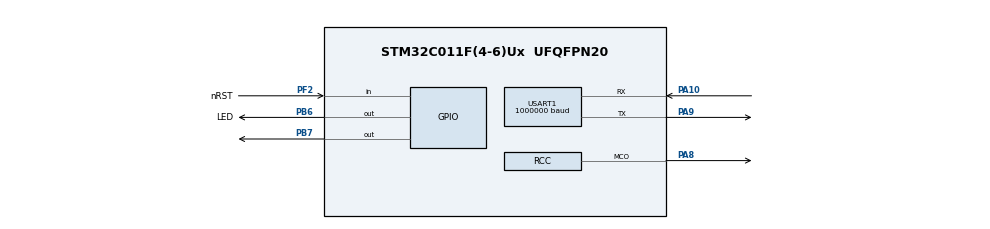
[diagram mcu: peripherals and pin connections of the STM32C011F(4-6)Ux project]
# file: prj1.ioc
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Mcu.Family=STM32C0
Mcu.Name=STM32C011F(4-6)Ux
Mcu.Package=UFQFPN20
NVIC.TIM1_BRK_UP_TRG_COM_IRQn=true\:0\:0\:false\:false\:true\:true\:true\:true
NVIC.USART1_IRQn=true\:0\:0\:false\:false\:true\:true\:true\:true
PA10\ [PA12].GPIO_FMPA10=SYSCFG_FASTMODEPLUS_PA10
PA10\ [PA12].GPIO_ModeDefaultPP=GPIO_MODE_AF_PP
PA10\ [PA12].GPIO_PuPd=GPIO_NOPULL
PA10\ [PA12].GPIO_Speed=GPIO_SPEED_FREQ_VERY_HIGH
PA10\ [PA12].Mode=Asynchronous
PA10\ [PA12].Signal=USART1_RX
PA13.Mode=Serial_Wire
PA13.Signal=DEBUG_SWDIO
PA14-BOOT0.Mode=Serial_Wire
PA14-BOOT0.Signal=DEBUG_SWCLK
PA8.Mode=Clock-out
PA8.Signal=RCC_MCO
PA9\ [PA11].GPIO_FMPA9=SYSCFG_FASTMODEPLUS_PA9
PA9\ [PA11].GPIO_PuPd=GPIO_NOPULL
PA9\ [PA11].GPIO_Speed=GPIO_SPEED_FREQ_VERY_HIGH
PA9\ [PA11].Mode=Asynchronous
PA9\ [PA11].Signal=USART1_TX
PB6.GPIO_Label=LED
PB6.GPIO_Speed=GPIO_SPEED_FREQ_VERY_HIGH
PB6.PinState=GPIO_PIN_RESET
PB6.Signal=GPIO_Output
PB7.Signal=GPIO_Output
PF2-NRST.GPIO_Label=nRST
PF2-NRST.Signal=GPIO_Input
ProjectManager.HeapSize=0x200
ProjectManager.StackSize=0x400
ProjectManager.TargetToolchain=MDK-ARM V5.32
RCC.ADCFreq_Value=48000000
RCC.AHBFreq_Value=48000000
RCC.CortexFreq_Value=48000000
RCC.EXTERNAL_CLOCK_VALUE=12288000
RCC.HCLKFreq_Value=48000000
RCC.HSE_VALUE=8000000
RCC.HSISYSCLKDivider=RCC_HSI_DIV1
RCC.HSI_VALUE=48000000
RCC.LSE_VALUE=32768
RCC.SYSCLKFreq_VALUE=48000000
TIM1.Period=9
TIM1.Prescaler=4799
USART1.BaudRate=1000000
USART1.VirtualMode-Asynchronous=VM_ASYNC
VP_IWDG_VS_IWDG.Mode=IWDG_Activate
VP_SYS_VS_PINREMAP.Mode=PINREMAP
VP_SYS_VS_PINREMAP_10_12.Mode=PINREMAP_10_12
VP_TIM1_VS_ClockSourceINT.Mode=Internal
board=STM32C0116-DK

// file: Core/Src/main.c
/* USER CODE BEGIN Header */
/**
  ******************************************************************************
  * @file           : main.c
  * @brief          : Main program body
  ******************************************************************************
  * @attention
  *
  * Copyright (c) 2023 STMicroelectronics.
  * All rights reserved.
  *
  * This software is licensed under terms that can be found in the LICENSE file
  * in the root directory of this software component.
  * If no LICENSE file comes with this software, it is provided AS-IS.
  *
  ******************************************************************************
  */
/* USER CODE END Header */
#include "main.h"
#include "iwdg.h"
#include "tim.h"
#include "usart.h"
#include "gpio.h"

/* USER CODE BEGIN Includes */
#include <stdio.h>           //add for sprintf
#include "string.h"          //add for memcmp

/* USER CODE END Includes */

/* USER CODE BEGIN PTD */

#define TXMODE
//#define RXMODE

#define NOUSE_LEN_TX  0   //0--257 , 1 -- 256, 2 -- 255, 3 -- 254
#define NOUSE_LEN_RX  3   //0--cmp 257 , 1 --cmp 256, 2 --cmp 255, 3 --cmp 254

extern volatile uint8_t flg_rx;
extern volatile uint8_t irxdata[RXDATALEN];
extern volatile uint8_t irxdata2[RXDATALEN];
extern volatile uint32_t irxnum;
extern volatile uint32_t irxnum2;

extern volatile uint8_t timer1_flag;

/* USER CODE END PTD */

/* USER CODE BEGIN PD */

  #define ADC_CALIBRATION_TIMEOUT_MS       (   1UL)
  #define ADC_ENABLE_TIMEOUT_MS            (   1UL)
  #define ADC_DISABLE_TIMEOUT_MS           (   1UL)
  #define ADC_STOP_CONVERSION_TIMEOUT_MS   (   1UL)
  #define ADC_CONVERSION_TIMEOUT_MS        (4000UL)

  /* Delay between ADC end of calibration and ADC enable.                     */
  /* Delay estimation in CPU cycles: Case of ADC enable done                  */
  /* immediately after ADC calibration, ADC clock setting slow                */
  /* (LL_ADC_CLOCK_ASYNC_DIV32). Use a higher delay if ratio                  */
  /* (CPU clock / ADC clock) is above 32.                                     */
  #define ADC_DELAY_CALIB_ENABLE_CPU_CYCLES  (LL_ADC_DELAY_CALIB_ENABLE_ADC_CYCLES * 32)

/* Definitions of environment analog values */
  /* Value of analog reference voltage (Vref+), connected to analog voltage   */
  /* supply Vdda (unit: mV).                                                  */
  #define VDDA_APPLI                       (3300UL)

/* Definitions of data related to this example */
  /* Init variable out of expected ADC conversion data range */
  #define VAR_CONVERTED_DATA_INIT_VALUE    (__LL_ADC_DIGITAL_SCALE(LL_ADC_RESOLUTION_12B) + 1)

/* USER CODE END PD */

/* USER CODE BEGIN PM */

//uint8_t TESTTXDATA[TXDATALEN]=  //org
//{0x00,
// 0x00,0x01,0x02,0x03,0x04,0x05,0x06,0x07,0x08,0x09,0x0A,0x0B,0x0C,0x0D,0x0E,0x0F,0x10,0x11,0x12,0x13,0x14,0x15,0x16,0x17,0x18,0x19,0x1A,0x1B,0x1C,0x1D,0x1E,0x1F,
// 0x20,0x21,0x22,0x23,0x24,0x25,0x26,0x27,0x28,0x29,0x2A,0x2B,0x2C,0x2D,0x2E,0x2F,0x30,0x31,0x32,0x33,0x34,0x35,0x36,0x37,0x38,0x39,0x3A,0x3B,0x3C,0x3D,0x3E,0x3F,
// 0x40,0x41,0x42,0x43,0x44,0x45,0x46,0x47,0x48,0x49,0x4A,0x4B,0x4C,0x4D,0x4E,0x4F,0x50,0x51,0x52,0x53,0x54,0x55,0x56,0x57,0x58,0x59,0x5A,0x5B,0x5C,0x5D,0x5E,0x5F,
// 0x60,0x61,0x62,0x63,0x64,0x65,0x66,0x67,0x68,0x69,0x6A,0x6B,0x6C,0x6D,0x6E,0x6F,0x70,0x71,0x72,0x73,0x74,0x75,0x76,0x77,0x78,0x79,0x7A,0x7B,0x7C,0x7D,0x7E,0x7F,
// 0x80,0x81,0x82,0x83,0x84,0x85,0x86,0x87,0x88,0x89,0x8A,0x8B,0x8C,0x8D,0x8E,0x8F,0x90,0x91,0x92,0x93,0x94,0x95,0x96,0x97,0x98,0x99,0x9A,0x9B,0x9C,0x9D,0x9E,0x9F,
// 0xA0,0xA1,0xA2,0xA3,0xA4,0xA5,0xA6,0xA7,0xA8,0xA9,0xAA,0xAB,0xAC,0xAD,0xAE,0xAF,0xB0,0xB1,0xB2,0xB3,0xB4,0xB5,0xB6,0xB7,0xB8,0xB9,0xBA,0xBB,0xBC,0xBD,0xBE,0xBF,
// 0xC0,0xC1,0xC2,0xC3,0xC4,0xC5,0xC6,0xC7,0xC8,0xC9,0xCA,0xCB,0xCC,0xCD,0xCE,0xCF,0xD0,0xD1,0xD2,0xD3,0xD4,0xD5,0xD6,0xD7,0xD8,0xD9,0xDA,0xDB,0xDC,0xDD,0xDE,0xDF,
// 0xE0,0xE1,0xE2,0xE3,0xE4,0xE5,0xE6,0xE7,0xE8,0xE9,0xEA,0xEB,0xEC,0xED,0xEE,0xEF,0xF0,0xF1,0xF2,0xF3,0xF4,0xF5,0xF6,0xF7,0xF8,0xF9,0xFA,0xFB,0xFC,0xFD,0xFE,0xFF
//};

uint8_t TESTTXDATA[TXDATALEN]=
{
      0x0F,0x0F,0x0F,0x0F,0x0F,0x0F,0x0F,0x0F,0x0F,0x0F,0x0F,0x0F,0x0F,0x0F,0x0F,
 0x0F,0x0F,0x0F,0x0F,0x0F,0x0F,0x0F,0x0F,0x0F,0x0F,0x0F,0x0F,0x0F,0x0F,0x0F,0x0F,
 0x0F,0x0F,0x0F,0x0F,0x0F,0x0F,0x0F,0x0F,0x0F,0x0F,0x0F,0x0F,0x0F,0x0F,0x0F,0x0F,
 0x0F,0x0F,0x0F,0x0F,0x0F,0x0F,0x0F,0x0F,0x0F,0x0F,0x0F,0x0F,0x0F,0x0F,0x0F,0x0F,
 0x0F,0x0F,0x0F,0x0F,0x0F,0x0F,0x0F,0x0F,0x0F,0x0F,0x0F,0x0F,0x0F,0x0F,0x0F,0x0F,
 0x0F,0x0F,0x0F,0x0F,0x0F,0x0F,0x0F,0x0F,0x0F,0x0F,0x0F,0x0F,0x0F,0x0F,0x0F,0x0F,
 0x0F,0x0F,0x0F,0x0F,0x0F,0x0F,0x0F,0x0F,0x0F,0x0F,0x0F,0x0F,0x0F,0x0F,0x0F,0x0F,
 0x0F,0x0F,0x0F,0x0F,0x0F,0x0F,0x0F,0x0F,0x0F,0x0F,0x0F,0x0F,0x0F,0x0F,0x0F,0x0F,
 0x0F,0x0F,0x0F,0x0F,0x0F,0x0F,0x0F,0x0F,0x0F,0x0F,0x0F,0x0F,0x0F,0x0F,0x0F,0x0F,
 0x0F,0x0F,0x0F,0x0F,0x0F,0x0F,0x0F,0x0F,0x0F,0x0F,0x0F,0x0F,0x0F,0x0F,0x0F,0x0F,
 0x0F,0x0F,0x0F,0x0F,0x0F,0x0F,0x0F,0x0F,0x0F,0x0F,0x0F,0x0F,0x0F,0x0F,0x0F,0x0F,
 0x0F,0x0F,0x0F,0x0F,0x0F,0x0F,0x0F,0x0F,0x0F,0x0F,0x0F,0x0F,0x0F,0x0F,0x0F,0x0F,
 0x0F,0x0F,0x0F,0x0F,0x0F,0x0F,0x0F,0x0F,0x0F,0x0F,0x0F,0x0F,0x0F,0x0F,0x0F,0x0F,
 0x0F,0x0F,0x0F,0x0F,0x0F,0x0F,0x0F,0x0F,0x0F,0x0F,0x0F,0x0F,0x0F,0x0F,0x0F,0x0F,
 0x0F,0x0F,0x0F,0x0F,0x0F,0x0F,0x0F,0x0F,0x0F,0x0F,0x0F,0x0F,0x0F,0x0F,0x0F,0x0F,
 0x0F,0x0F,0x0F,0x0F,0x0F,0x0F,0x0F,0x0F,0x0F,0x0F,0x0F,0x0F,0x0F,0x0F,0x0F,0x0F
};

//uint8_t TESTRXDATA[RXDATALEN]=  //org
//{ 0X00,
// 0x00,0x01,0x02,0x03,0x04,0x05,0x06,0x07,0x08,0x09,0x0A,0x0B,0x0C,0x0D,0x0E,0x0F,0x10,0x11,0x12,0x13,0x14,0x15,0x16,0x17,0x18,0x19,0x1A,0x1B,0x1C,0x1D,0x1E,0x1F,
// 0x20,0x21,0x22,0x23,0x24,0x25,0x26,0x27,0x28,0x29,0x2A,0x2B,0x2C,0x2D,0x2E,0x2F,0x30,0x31,0x32,0x33,0x34,0x35,0x36,0x37,0x38,0x39,0x3A,0x3B,0x3C,0x3D,0x3E,0x3F,
// 0x40,0x41,0x42,0x43,0x44,0x45,0x46,0x47,0x48,0x49,0x4A,0x4B,0x4C,0x4D,0x4E,0x4F,0x50,0x51,0x52,0x53,0x54,0x55,0x56,0x57,0x58,0x59,0x5A,0x5B,0x5C,0x5D,0x5E,0x5F,
// 0x60,0x61,0x62,0x63,0x64,0x65,0x66,0x67,0x68,0x69,0x6A,0x6B,0x6C,0x6D,0x6E,0x6F,0x70,0x71,0x72,0x73,0x74,0x75,0x76,0x77,0x78,0x79,0x7A,0x7B,0x7C,0x7D,0x7E,0x7F,
// 0x80,0x81,0x82,0x83,0x84,0x85,0x86,0x87,0x88,0x89,0x8A,0x8B,0x8C,0x8D,0x8E,0x8F,0x90,0x91,0x92,0x93,0x94,0x95,0x96,0x97,0x98,0x99,0x9A,0x9B,0x9C,0x9D,0x9E,0x9F,
// 0xA0,0xA1,0xA2,0xA3,0xA4,0xA5,0xA6,0xA7,0xA8,0xA9,0xAA,0xAB,0xAC,0xAD,0xAE,0xAF,0xB0,0xB1,0xB2,0xB3,0xB4,0xB5,0xB6,0xB7,0xB8,0xB9,0xBA,0xBB,0xBC,0xBD,0xBE,0xBF,
// 0xC0,0xC1,0xC2,0xC3,0xC4,0xC5,0xC6,0xC7,0xC8,0xC9,0xCA,0xCB,0xCC,0xCD,0xCE,0xCF,0xD0,0xD1,0xD2,0xD3,0xD4,0xD5,0xD6,0xD7,0xD8,0xD9,0xDA,0xDB,0xDC,0xDD,0xDE,0xDF,
// 0xE0,0xE1,0xE2,0xE3,0xE4,0xE5,0xE6,0xE7,0xE8,0xE9,0xEA,0xEB,0xEC,0xED,0xEE,0xEF,0xF0,0xF1,0xF2,0xF3,0xF4,0xF5,0xF6,0xF7,0xF8,0xF9,0xFA,0xFB,0xFC,0xFD,0xFE,0xFF
//};

uint8_t TESTRXDATA[TXDATALEN]=
{
      0x0F,0x0F,0x0F,0x0F,0x0F,0x0F,0x0F,0x0F,0x0F,0x0F,0x0F,0x0F,0x0F,0x0F,0x0F,
 0x0F,0x0F,0x0F,0x0F,0x0F,0x0F,0x0F,0x0F,0x0F,0x0F,0x0F,0x0F,0x0F,0x0F,0x0F,0x0F,
 0x0F,0x0F,0x0F,0x0F,0x0F,0x0F,0x0F,0x0F,0x0F,0x0F,0x0F,0x0F,0x0F,0x0F,0x0F,0x0F,
 0x0F,0x0F,0x0F,0x0F,0x0F,0x0F,0x0F,0x0F,0x0F,0x0F,0x0F,0x0F,0x0F,0x0F,0x0F,0x0F,
 0x0F,0x0F,0x0F,0x0F,0x0F,0x0F,0x0F,0x0F,0x0F,0x0F,0x0F,0x0F,0x0F,0x0F,0x0F,0x0F,
 0x0F,0x0F,0x0F,0x0F,0x0F,0x0F,0x0F,0x0F,0x0F,0x0F,0x0F,0x0F,0x0F,0x0F,0x0F,0x0F,
 0x0F,0x0F,0x0F,0x0F,0x0F,0x0F,0x0F,0x0F,0x0F,0x0F,0x0F,0x0F,0x0F,0x0F,0x0F,0x0F,
 0x0F,0x0F,0x0F,0x0F,0x0F,0x0F,0x0F,0x0F,0x0F,0x0F,0x0F,0x0F,0x0F,0x0F,0x0F,0x0F,
 0x0F,0x0F,0x0F,0x0F,0x0F,0x0F,0x0F,0x0F,0x0F,0x0F,0x0F,0x0F,0x0F,0x0F,0x0F,0x0F,
 0x0F,0x0F,0x0F,0x0F,0x0F,0x0F,0x0F,0x0F,0x0F,0x0F,0x0F,0x0F,0x0F,0x0F,0x0F,0x0F,
 0x0F,0x0F,0x0F,0x0F,0x0F,0x0F,0x0F,0x0F,0x0F,0x0F,0x0F,0x0F,0x0F,0x0F,0x0F,0x0F,
 0x0F,0x0F,0x0F,0x0F,0x0F,0x0F,0x0F,0x0F,0x0F,0x0F,0x0F,0x0F,0x0F,0x0F,0x0F,0x0F,
 0x0F,0x0F,0x0F,0x0F,0x0F,0x0F,0x0F,0x0F,0x0F,0x0F,0x0F,0x0F,0x0F,0x0F,0x0F,0x0F,
 0x0F,0x0F,0x0F,0x0F,0x0F,0x0F,0x0F,0x0F,0x0F,0x0F,0x0F,0x0F,0x0F,0x0F,0x0F,0x0F,
 0x0F,0x0F,0x0F,0x0F,0x0F,0x0F,0x0F,0x0F,0x0F,0x0F,0x0F,0x0F,0x0F,0x0F,0x0F,0x0F,
 0x0F,0x0F,0x0F,0x0F,0x0F,0x0F,0x0F,0x0F,0x0F,0x0F,0x0F,0x0F,0x0F,0x0F,0x0F,0x0F
};

/* USER CODE END PM */

/* USER CODE BEGIN PV */

///* Variables for ADC conversion data */
//__IO uint16_t uhADCxConvertedData = VAR_CONVERTED_DATA_INIT_VALUE; /* ADC group regular conversion data */

///* Variables for ADC conversion data computation to physical values */
//uint16_t uhADCxConvertedData_Voltage_mVolt = 0;  /* Value of voltage calculated from ADC conversion data (unit: mV) */

/* USER CODE END PV */

void SystemClock_Config(void);
/* USER CODE BEGIN PFP */
//void ADC_Activate(void);
//void ConversionStartPoll_ADC_GrpRegular(void);

/* USER CODE END PFP */

/* USER CODE BEGIN 0 */

void iputs1(char *msg)
{
   while(*msg)
   Send_Data_To_UART1(*msg++);
}

void iputbytes1(uint8_t *msg, uint32_t ilen)
{
   while(ilen--)
   Send_Data_To_UART1(*msg++);
}

void Send_Data_To_UART1 (uint8_t c)
{

   USART1->TDR = c;

   while( (USART1-> ISR & (1<<7) ) ==0 );
}

/* USER CODE END 0 */

int main(void)
{

  /* MCU Configuration--------------------------------------------------------*/

  /* Reset of all peripherals, Initializes the Flash interface and the Systick. */
  LL_APB2_GRP1_EnableClock(LL_APB2_GRP1_PERIPH_SYSCFG);
  LL_APB1_GRP1_EnableClock(LL_APB1_GRP1_PERIPH_PWR);

  /* SysTick_IRQn interrupt configuration */
  NVIC_SetPriority(SysTick_IRQn, 3);

  LL_SYSCFG_EnablePinRemap(LL_SYSCFG_PIN_RMP_PA11);
  LL_SYSCFG_EnablePinRemap(LL_SYSCFG_PIN_RMP_PA12);

  /* Configure the system clock */
  SystemClock_Config();

  /* USER CODE BEGIN SysInit */
  LL_RCC_ConfigMCO(LL_RCC_MCO1SOURCE_SYSCLK, LL_RCC_MCO1_DIV_4);//12Mhz = 48Mhz/4
  /* USER CODE END SysInit */

  /* Initialize all configured peripherals */
  MX_GPIO_Init();
  MX_USART1_UART_Init();
  MX_TIM1_Init();
  MX_IWDG_Init();
  /* USER CODE BEGIN 2 */

  iputs1("start...");

  /* USER CODE END 2 */

  /* Infinite loop */
  /* USER CODE BEGIN WHILE */

  /* Activate ADC */
  /* Perform ADC activation procedure to make it ready to convert. */
  //ADC_Activate();

//  while (1)
//  {
//     LL_GPIO_SetOutputPin( LED_GPIO_Port, LED_Pin);
//     LL_mDelay(100);
//     LL_GPIO_ResetOutputPin( LED_GPIO_Port, LED_Pin);
//
//     LL_mDelay(2000);
//
//     LL_IWDG_ReloadCounter(IWDG);
//  }

  while (1)
  {
      //LL_mDelay(1000);
      static uint8_t flg_dataerr =0;

      static uint32_t iuart_txcount=0;
      static uint32_t iuart_txledcount=0;
      static uint32_t iuart_rxcount=0;
      static uint32_t iuart_rxledcount=0;

      LL_IWDG_ReloadCounter(IWDG);

    /* USER CODE END WHILE */

    /* USER CODE BEGIN 3 */

		if(timer1_flag==1)
		{
			timer1_flag=0;

			iuart_txcount++;
			iuart_txledcount++;
			iuart_rxcount++;
			iuart_rxledcount++;
		}

////		if(itimecount>=8)
////		{
////			itimecount=0;
////			irxnum=0;
////		}

		if(itimecount>=18)  //18 x 1ms  //clear the irxnum at the mid of 2 data packet
		{
			itimecount=0;
         //flg_itimemid=1;

         //iputs1("run");

         memcpy((void *)irxdata2,(void *)irxdata,irxnum);
         irxnum2=irxnum;

         irxnum=0;
         flg_rx=1;
		}

#if (defined TXMODE)

     //uart tx
     if(iuart_txcount>=30)   // 30ms
     {
         iuart_txcount=0;

         if(NOUSE_LEN_TX==0)  //255
            iputbytes1((uint8_t *)TESTTXDATA, TXDATALEN);
         else if(NOUSE_LEN_TX==1)  //254
            iputbytes1((uint8_t *)TESTTXDATA + NOUSE_LEN_TX, TXDATALEN - NOUSE_LEN_TX);
         else
            iputbytes1((uint8_t *)TESTTXDATA + NOUSE_LEN_TX, TXDATALEN - NOUSE_LEN_TX);

     }

		if( iuart_txledcount >=1000)
		{
			 iuart_txledcount=0;

			 LL_GPIO_TogglePin( LED_GPIO_Port, LED_Pin);
		}

#else

		if( iuart_rxcount >=1000)
		{
			 uint8_t igap =0;

			 iuart_rxcount=0;

			 //uart rx
			 if (flg_rx==1)
			 {
               flg_rx=0;

               //iputs1("rx in\r\n");

               iputbytes1((uint8_t *)irxdata2,irxnum2);

				   if(irxnum2==255)
						 igap=NOUSE_LEN_RX;
					 else if(irxnum2==254)
						 igap=NOUSE_LEN_RX-1; 		//NOUSE_LEN>=1
					 else if(irxnum2==253)
						 igap=NOUSE_LEN_RX-2; 		//NOUSE_LEN>=2
					 else if(irxnum2==252)
						 igap=NOUSE_LEN_RX-3; 		//NOUSE_LEN>=3

					 //Send_Data_To_UART1(irxnum2);

                if(irxnum2>0)
                {
                   if(memcmp((void*)TESTRXDATA + NOUSE_LEN_RX, (void*)irxdata2+igap, RXDATALEN - NOUSE_LEN_RX) ==0)
                   {
                      //iputs1("dataok\r\n");
                      flg_dataerr=0;
                   }
                   else
                   {
                      //iputs1("dataerr\r\n");
                      flg_dataerr=1;
                   }
                }
                else
                   flg_dataerr=1;

						if( iuart_rxledcount >=1000)
						{
							 iuart_rxledcount=0;

							 if(flg_dataerr==0)
								 LL_GPIO_TogglePin( LED_GPIO_Port, LED_Pin);
						}

			 }
		 }

#endif

  }
  /* USER CODE END 3 */
}

void SystemClock_Config(void)
{

  LL_FLASH_SetLatency(LL_FLASH_LATENCY_1);

  /* HSI configuration and activation */
  LL_RCC_HSI_Enable();
  while(LL_RCC_HSI_IsReady() != 1)
  {
  }

  LL_RCC_HSI_SetCalibTrimming(64);
  LL_RCC_SetHSIDiv(LL_RCC_HSI_DIV_1);
  /* LSI configuration and activation */
  LL_RCC_LSI_Enable();
  while(LL_RCC_LSI_IsReady() != 1)
  {
  }

  /* Set AHB prescaler*/
  LL_RCC_SetAHBPrescaler(LL_RCC_HCLK_DIV_1);

  /* Sysclk activation on the HSI */
  LL_RCC_SetSysClkSource(LL_RCC_SYS_CLKSOURCE_HSI);
  while(LL_RCC_GetSysClkSource() != LL_RCC_SYS_CLKSOURCE_STATUS_HSI)
  {
  }

  /* Set APB1 prescaler*/
  LL_RCC_SetAPB1Prescaler(LL_RCC_APB1_DIV_1);
  LL_Init1msTick(48000000);
  /* Update CMSIS variable (which can be updated also through SystemCoreClockUpdate function) */
  LL_SetSystemCoreClock(48000000);
  LL_RCC_ConfigMCO(LL_RCC_MCO1SOURCE_SYSCLK, LL_RCC_MCO1_DIV_1);
}

void Error_Handler(void)
{
  __disable_irq();
  while (1)
  {
  }
}
